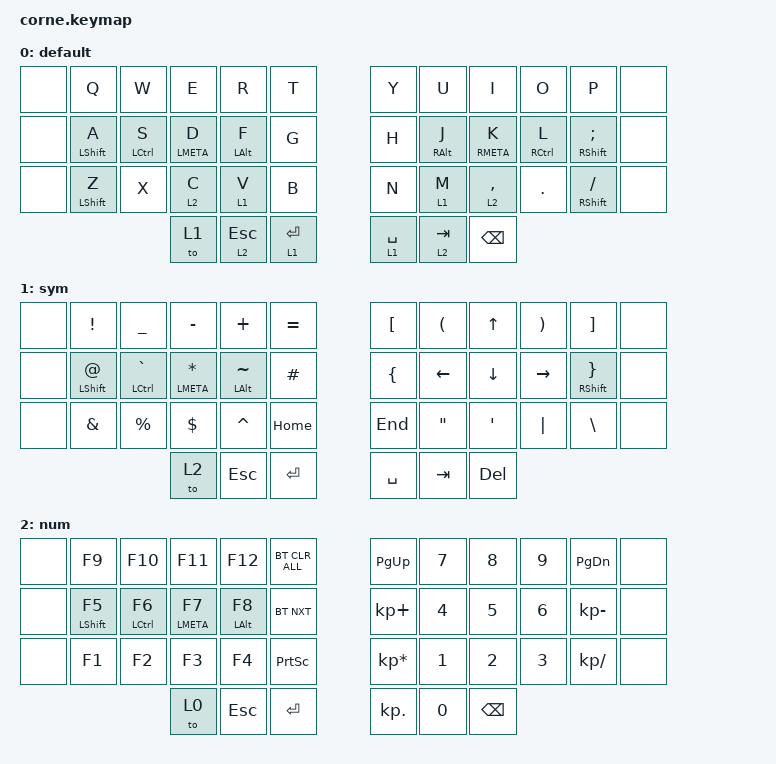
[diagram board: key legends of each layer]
/*
 * Copyright (c) 2020 The ZMK Contributors
 *
 * SPDX-License-Identifier: MIT
 */

#include <behaviors.dtsi>
#include <dt-bindings/zmk/keys.h>
#include <dt-bindings/zmk/bt.h>

&mt {
        retro-tap;
};

/ {
        rp: require_prior_idle {
                compatible = "zmk,behavior-hold-tap";
                #binding-cells = <2>;
                flavor = "tap-preferred";
                tapping-term-ms = <200>;
                //quick-tap-ms = <200>;
                //require-prior-idle-ms = <125>;
                bindings = <&kp>, <&kp>;
        };

        keymap {
                compatible = "zmk,keymap";

                default {
//1 ╭─────┬─────┬─────┬─────┬─────╮        ╭─────┬─────┬─────┬─────┬─────╮
//1 │  Q  │  W  │  E  │  R  │  T  │        │  Y  │  U  │  I  │  O  │  P  │
//1 ├─────┼─────┼─────┼─────┼─────┤        ├─────┼─────┼─────┼─────┼─────┤
//1 │  A ⇧│  S ⌃│  D ⌘│  F ⌥│  G  │   L0   │  H  │  J ⌥│  K ⌘│  L ⌃│  ;:⇧│
//1 ├─────┼─────┼─────┼─────┼─────┤        ├─────┼─────┼─────┼─────┼─────┤
//1 │  Z ⇧│  X  │  C ²│  V ¹│  B  │        │  N  │  M ¹│  ,<²│  .> │  /?⇧│
//1 ╰─────┴─────┼─────┼─────┼─────┤        ├─────┼─────┼─────┼─────┴─────╯
//1             │ (1) │  ⎋ ²│  ⏎ ¹│        │  ␣ ¹│  ↹ ²│  ⌫  │
//1             ╰─────┴─────┴─────╯        ╰─────┴─────┴─────╯
                        bindings = <
&none &kp Q            &kp W            &kp E            &kp R            &kp T                   &kp Y            &kp U            &kp I            &kp O            &kp P           &none
&none &rp LSHFT A      &rp LCTRL S      &rp LMETA D      &rp LALT F       &kp G                   &kp H            &rp RALT J       &rp RMETA K      &rp RCTRL L      &rp RSHFT SEMI  &none
&none &rp LSHFT Z      &kp X            &lt 2 C          &lt 1 V          &kp B                   &kp N            &lt 1 M          &lt 2 COMMA      &kp DOT          &rp RSHFT FSLH  &none
                                        &to 1            &lt 2 ESC        &lt 1 RET               &lt 1 SPACE      &lt 2 TAB        &kp BSPC
                        >;
                };
                sym {
//1 ╭─────┬─────┬─────┬─────┬─────╮        ╭─────┬─────┬─────┬─────┬─────╮
//1 │  !  │  _  │  -  │  +  │  =  │        │  [  │  (  │  ↑  │  )  │  ]  │
//1 ├─────┼─────┼─────┼─────┼─────┤        ├─────┼─────┼─────┼─────┼─────┤
//1 │  @ ⇧│  ` ⌃│  * ⌘│  ~ ⌥│  #  │   L1   │  {  │  ←  │  ↓  │  →  │  } ⇧│
//1 ├─────┼─────┼─────┼─────┼─────┤        ├─────┼─────┼─────┼─────┼─────┤
//1 │  &  │  %  │  $  │  ^  │  ⌂  │        │  ␃  │  "  │  '  │  |  │  \  │
//1 ╰─────┴─────┼─────┼─────┼─────┤        ├─────┼─────┼─────┼─────┴─────╯
//1             │ (2) │  ⎋  │  ⏎  │        │  ␣  │  ↹  │  ⌦  │
//1             ╰─────┴─────┴─────╯        ╰─────┴─────┴─────╯
                        bindings = <
&none &kp EXCL         &kp UNDER        &kp MINUS        &kp PLUS         &kp EQUAL               &kp LBKT         &kp LPAR         &kp UP           &kp RPAR         &kp RBKT        &none
&none &mt LSHFT AT     &mt LCTRL GRAVE  &mt LMETA STAR   &mt LALT TILDE   &kp HASH                &kp LBRC         &kp LEFT         &kp DOWN         &kp RIGHT        &mt RSHFT RBRC  &none
&none &kp AMPS         &kp PRCNT        &kp DOLLAR       &kp CARET        &kp HOME                &kp END          &kp DQT          &kp APOS         &kp PIPE         &kp BSLH        &none
                                        &to 2            &kp ESC          &kp RET                 &kp SPACE        &kp TAB          &kp DEL
                        >;
                };
                num {
//1 ╭─────┬─────┬─────┬─────┬─────╮        ╭─────┬─────┬─────┬─────┬─────╮
//1 │ F9  │ F10 │ F11 │ F12 │    │        │  ▲  │  7  │  8  │  9  │  ▼  │
//1 ├─────┼─────┼─────┼─────┼─────┤        ├─────┼─────┼─────┼─────┼─────┤
//1 │ F5 ⇧│ F6 ⌃│ F7 ⌘│ F8 ⌥│    │   L2   │  +  │  4  │  5  │  6  │  -  │
//1 ├─────┼─────┼─────┼─────┼─────┤        ├─────┼─────┼─────┼─────┼─────┤
//1 │ F1  │ F2  │ F3  │ F4  │  ⎙  │        │  *  │  1  │  2  │  3  │  /  │
//1 ╰─────┴─────┼─────┼─────┼─────┤        ├─────┼─────┼─────┼─────┴─────╯
//1             │ (0) │  ⎋  │  ⏎  │        │  .  │  0  │  ⌫  │
//1             ╰─────┴─────┴─────╯        ╰─────┴─────┴─────╯
                        bindings = <
&none &kp F9            &kp F10         &kp F11          &kp F12          &bt BT_CLR_ALL          &kp PG_UP        &kp N7           &kp N8           &kp N9           &kp PG_DN       &none
&none &mt LSHFT F5      &mt LCTRL F6    &mt LMETA F7     &mt LALT F8      &bt BT_NXT              &kp KP_PLUS      &kp N4           &kp N5           &kp N6           &kp KP_MINUS    &none
&none &kp F1            &kp F2          &kp F3           &kp F4           &kp PSCRN               &kp KP_MULTIPLY  &kp N1           &kp N2           &kp N3           &kp KP_DIVIDE   &none
                                        &to 0            &kp ESC          &kp RET                 &kp KP_DOT       &kp N0           &kp BSPC
                        >;
                };
        };
};

//2  H       H       H       H       H                      H       H       H       H       H
//2 ╭───────┬───────┬───────┬───────┬───────╮        ╭───────┬───────┬───────┬───────┬───────╮
//2 │      !│      _│     -_│      +│     =+│   L1   │[{     │(      │↑      │)      │]}     │
//2 │   qQ  │   wW  │   eE  │   rR  │   tT  │   L0   │   yY  │   uU  │   iI  │   oO  │   pP  │
//2 │     F9│    F10│    F11│    F12│      │   L2   │▲      │7&     │8*     │9(     │▼      │
//2 ├───────┼───────┼───────┼───────┼───────┤        ├───────┼───────┼───────┼───────┼───────┤
//2 │⇧     @│⌃    `~│⌘     *│⌥     ~│      #│   L1   │{      │←      │↓      │→      │}     ⇧│
//2 │⇧  aA  │⌃  sS  │⌘  dD  │⌥  fF  │   gG  │   L0   │   hH  │   jJ ⌥│   kK ⌘│   lL ⌃│   ;: ⇧│
//2 │⇧    F5│⌃    F6│⌘    F7│⌥    F8│      │   L2   │+      │4$     │5%     │6^     │-      │
//2 ├───────┼───────┼───────┼───────┼───────┤        ├───────┼───────┼───────┼───────┼───────┤
//2 │      &│      %│      $│      ^│      ⌂│   L1   │␃      │"      │'"     │|      │\|     │
//2 │⇧  zZ  │   xX  │²  cC  │¹  vV  │   bB  │   L0   │   nN  │   mM ¹│   ,< ²│   .>  │   /? ⇧│
//2 │     F1│     F2│     F3│     F4│     ⎙ │   L2   │*      │1!     │2@     │3#     │/      │
//2 ╰───────┴───────┼───────┼───────┼───────┤        ├───────┼───────┼───────┼───────┴───────╯
//2                 │    (2)│      ⎋│      ⏎│   L1   │␣      │↹      │⌦      │
//2                 │  (1)  │²  ⎋   │¹  ⏎   │   L0   │   ␣  ¹│   ↹  ²│   ⌫   │
//2                 │    (0)│      ⎋│      ⏎│   L2   │.      │0)     │⌫      │
//2                 ╰───────┴───────┴───────╯        ╰───────┴───────┴───────╯

//3  H       H       H       H       H                      H       H       H       H       H
//3 ╭───────┬───────┬───────┬───────┬───────╮        ╭───────┬───────┬───────┬───────┬───────╮
//3 │      !│      _│      -│      +│      =│   L1   │[      │(      │↑      │)      │]      │
//3 │   Q   │   W   │   E   │   R   │   T   │   L0   │   Y   │   U   │   I   │   O   │   P   │
//3 │     F9│    F10│    F11│    F12│      │   L2   │▲      │7      │8      │9      │▼      │
//3 ├───────┼───────┼───────┼───────┼───────┤        ├───────┼───────┼───────┼───────┼───────┤
//3 │⇧     @│⌃     `│⌘     *│⌥     ~│      #│   L1   │{      │←      │↓      │→      │}     ⇧│
//3 │⇧  A   │⌃  S   │⌘  D   │⌥  F   │   G   │   L0   │   H   │   J  ⌥│   K  ⌘│   L  ⌃│   ;: ⇧│
//3 │⇧    F5│⌃    F6│⌘    F7│⌥    F8│      │   L2   │+      │4      │5      │6      │-      │
//3 ├───────┼───────┼───────┼───────┼───────┤        ├───────┼───────┼───────┼───────┼───────┤
//3 │      &│      %│      $│      ^│      ⌂│   L1   │␃      │"      │'      │|      │\      │
//3 │⇧  Z   │   X   │²  C   │¹  V   │   B   │   L0   │   N   │   M  ¹│   ,< ²│   .>  │   /? ⇧│
//3 │     F1│     F2│     F3│     F4│     ⎙ │   L2   │*      │1      │2      │3      │/      │
//3 ╰───────┴───────┼───────┼───────┼───────┤        ├───────┼───────┼───────┼───────┴───────╯
//3                 │    (2)│      ⎋│      ⏎│   L1   │␣      │↹      │⌦      │
//3                 │  (1)  │²  ⎋   │¹  ⏎   │   L0   │   ␣  ¹│   ↹  ²│   ⌫   │
//3                 │    (0)│      ⎋│      ⏎│   L2   │.      │0      │⌫      │
//3                 ╰───────┴───────┴───────╯        ╰───────┴───────┴───────╯

//4 ╭───────┬───┬───────┬───┬───────┬───┬───────┬───┬───────┬───╮   ╭──╮   ╭───┬───────┬───┬───────┬───┬───────┬───┬───────┬───┬───────╮
//4 │       │ ! │       │ _ │       │ - │       │ + │       │ = │   │L1│   │ [ │       │ ( │       │ ↑ │       │ ) │       │ ] │       │
//4 │       ╰───┤       ╰───┤       ╰───┤       ╰───┤       ╰───┤   ├──┤   ├───╯       ├───╯       ├───╯       ├───╯       ├───╯       │
//4 │     Q     │     W     │     E     │     R     │     T     │   │L0│   │     Y     │     U     │     I     │     O     │     P     │
//4 │       ╭───┤       ╭───┤       ╭───┤       ╭───┤       ╭───┤   ├──┤   ├───╮       ├───╮       ├───╮       ├───╮       ├───╮       │
//4 │       │𝔽⁹ │       │𝔽¹⁰│       │𝔽¹¹│       │𝔽¹²│       │  │   │L2│   │ ▲ │       │ 7 │       │ 8 │       │ 9 │       │ ▼ │       │
//4 ├───┬───┼───┼───┬───┼───┼───┬───┼───┼───┬───┼───┼───────┼───┤   ├──┤   ├───┼───────┼───┼───────┼───┼───────┼───┼───────┼───┼───┬───┤
//4 │ ⇧ │   │ @ │ ⌃ │   │ ` │ ⌘ │   │ * │ ⌥ │   │ ~ │       │ # │   │L1│   │ { │       │ ← │       │ ↓ │       │ → │       │ } │   │ ⇧ │
//4 ├───┤   ╰───┼───┤   ╰───┼───┤   ╰───┼───┤   ╰───┤       ╰───┤   ├──┤   ├───╯       ├───╯   ╭───┼───╯   ╭───┼───╯   ╭───┼───╯   ├───┤
//4 │ ⇧ │ A     │ ⌃ │ S     │ ⌘ │ D     │ ⌥ │ F     │     G     │   │L0│   │     H     │     J │ ⌥ │     K │ ⌘ │     L │ ⌃ │     ;:│ ⇧ │
//4 ├───┤   ╭───┼───┤   ╭───┼───┤   ╭───┼───┤   ╭───┤       ╭───┤   ├──┤   ├───╮       ├───╮   ╰───┼───╮   ╰───┼───╮   ╰───┼───╮   ╰───┤
//4 │ ⇧ │   │𝔽⁵ │ ⌃ │   │𝔽⁶ │ ⌘ │   │𝔽⁷ │ ⌥ │   │𝔽⁸ │       │  │   │L2│   │ + │       │ 4 │       │ 5 │       │ 6 │       │ - │       │
//4 ├───┴───┼───┼───┴───┼───┼───┴───┼───┼───┴───┼───┼───────┼───┤   ├──┤   ├───┼───────┼───┼───────┼───┼───────┼───┼───────┼───┼───────┤
//4 │       │ & │       │ % │       │ $ │       │ ^ │       │ ⌂ │   │L1│   │ ␃ │       │ " │       │ ' │       │ | │       │ \ │       │
//4 ├───╮   ╰───┤       ╰───┼───╮   ╰───┼───╮   ╰───┤       ╰───┤   ├──┤   ├───╯       ├───╯   ╭───┼───╯   ╭───┼───╯       ├───╯   ╭───┤
//4 │ ⇧ │ Z     │     X     │ ² │ C     │ ¹ │ V     │     B     │   │L0│   │     N     │     M │ ¹ │     ,<│ ² │     .>    │     /?│ ⇧ │
//4 ├───╯   ╭───┤       ╭───┼───╯   ╭───┼───╯   ╭───┤       ╭───┤   ├──┤   ├───╮       ├───╮   ╰───┼───╮   ╰───┼───╮       ├───╮   ╰───┤
//4 │       │𝔽¹ │       │𝔽² │       │𝔽³ │       │𝔽⁴ │       │ ⎙ │   │L2│   │ * │       │ 1 │       │ 2 │       │ 3 │       │ / │       │
//4 ╰───────┴───┴───────┴───┼───────┼───┼───────┼───┼───────┼───┤   ├──┤   ├───┼───────┼───┼───────┼───┼───────┼───┴───────┴───┴───────╯
//4                         │       │(2)│       │ ⎋ │       │ ⏎ │   │L1│   │ ␣ │       │ ↹ │       │ ⌦ │       │
//4                         │       ╰───┼───╮   ╰───┼───╮   ╰───┤   ├──┤   ├───╯   ╭───┼───╯   ╭───┼───╯       │
//4                         │    (1)    │ ² │ ⎋     │ ¹ │ ⏎     │   │L0│   │     ␣ │ ¹ │     ↹ │ ² │     ⌫     │
//4                         │       ╭───┼───╯   ╭───┼───╯   ╭───┤   ├──┤   ├───╮   ╰───┼───╮   ╰───┼───╮       │
//4                         │       │(0)│       │ ⎋ │       │ ⏎ │   │L2│   │ . │       │ 0 │       │ ⌫ │       │
//4                         ╰───────┴───┴───────┴───┴───────┴───╯   ╰──╯   ╰───┴───────┴───┴───────┴───┴───────╯
